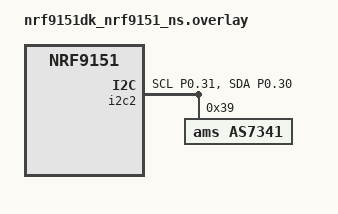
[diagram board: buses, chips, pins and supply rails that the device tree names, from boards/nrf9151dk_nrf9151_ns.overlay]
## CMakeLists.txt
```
# Copyright (c) 2026 Dotcom IoT LLP
# SPDX-License-Identifier: Apache-2.0

cmake_minimum_required(VERSION 3.28.0)
find_package(Zephyr REQUIRED HINTS $ENV{ZEPHYR_BASE})
project(ams_as7341_test)

file(GLOB app_sources src/*.c)
target_sources(app PRIVATE ${app_sources})

zephyr_include_directories(${ZEPHYR_BASE}/drivers/sensor/ams/ams_as7341)
zephyr_include_directories(./src)
```

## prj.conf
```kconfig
CONFIG_SENSOR=y
CONFIG_I2C=y
CONFIG_ZTEST=y
CONFIG_EMUL=y
CONFIG_I2C_EMUL=y
```

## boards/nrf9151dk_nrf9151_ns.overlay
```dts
// Copyright (c) 2026 Dotcom IoT LLP
// SPDX-License-Identifier: Apache-2.0

&i2c2 {
	status = "okay";
	pinctrl-0 = <&i2c2_default>;
	pinctrl-1 = <&i2c2_sleep>;
	pinctrl-names = "default", "sleep";

	as7341: as7341@39 {
		compatible = "ams,as7341";
		reg = <0x39>;
		status = "okay";
	};
};

&pinctrl {
	/omit-if-no-ref/ i2c2_default: i2c2_default {
		group1 {
			psels = <NRF_PSEL(TWIM_SCL, 0, 31)>,
				<NRF_PSEL(TWIM_SDA, 0, 30)>;
			bias-pull-up;
		};
	};

	/omit-if-no-ref/ i2c2_sleep: i2c2_sleep {
		group1 {
			psels = <NRF_PSEL(TWIM_SCL, 0, 31)>,
				<NRF_PSEL(TWIM_SDA, 0, 30)>;
			low-power-enable;
		};
	};
};
```

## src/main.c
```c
/*
 * Copyright (c) 2026 Dotcom IoT LLP
 * SPDX-License-Identifier: Apache-2.0
 */

#include <zephyr/ztest.h>
#include <zephyr/drivers/sensor.h>
#include <stdlib.h>
#include <string.h>

#include "ams_as7341.h"

/*
 * Fixture struct MUST be named <suite_name>_fixture.
 * Suite name is "as7341_tests", so struct must be "as7341_tests_fixture".
 */
struct as7341_tests_fixture {
	const struct device *dev;
};

static void *as7341_setup(void)
{
	struct as7341_tests_fixture *fixture = malloc(sizeof(struct as7341_tests_fixture));

	zassume_not_null(fixture, NULL);

	fixture->dev = DEVICE_DT_GET_ANY(ams_as7341);
	zassume_not_null(fixture->dev, "AS7341 device not found in DT");
	zassume_true(device_is_ready(fixture->dev), "AS7341 device is not ready");

	return fixture;
}

static void as7341_before(void *f)
{
	ARG_UNUSED(f);
}

static void as7341_teardown(void *f)
{
	free(f);
}

ZTEST_SUITE(as7341_tests, NULL, as7341_setup, as7341_before, NULL, as7341_teardown);

/**
 * @brief Test that the AS7341 device is ready after initialisation.
 */
ZTEST_F(as7341_tests, test_device_ready)
{
	zassert_true(device_is_ready(fixture->dev), "AS7341 device should be ready");
}

/**
 * @brief Test that sample_fetch succeeds for SENSOR_CHAN_ALL.
 */
ZTEST_F(as7341_tests, test_sample_fetch_all)
{
	int ret = sensor_sample_fetch(fixture->dev);

	zassert_equal(ret, 0, "sensor_sample_fetch failed: %d", ret);
}

/**
 * @brief Test that all spectral channels return valid (non-negative) values.
 */
ZTEST_F(as7341_tests, test_channel_get_spectral)
{
	struct sensor_value val;
	int ret;

	ret = sensor_sample_fetch(fixture->dev);
	zassert_equal(ret, 0, "sensor_sample_fetch failed: %d", ret);

	/* F1 - 415 nm */
	ret = sensor_channel_get(fixture->dev, (enum sensor_channel)SENSOR_CHAN_AS7341_415NM_F1,
				 &val);
	zassert_equal(ret, 0, "channel_get F1 failed: %d", ret);
	zassert_true(val.val1 >= 0, "F1 value should be non-negative");

	/* F2 - 445 nm */
	ret = sensor_channel_get(fixture->dev, (enum sensor_channel)SENSOR_CHAN_AS7341_445NM_F2,
				 &val);
	zassert_equal(ret, 0, "channel_get F2 failed: %d", ret);
	zassert_true(val.val1 >= 0, "F2 value should be non-negative");

	/* F3 - 480 nm */
	ret = sensor_channel_get(fixture->dev, (enum sensor_channel)SENSOR_CHAN_AS7341_480NM_F3,
				 &val);
	zassert_equal(ret, 0, "channel_get F3 failed: %d", ret);
	zassert_true(val.val1 >= 0, "F3 value should be non-negative");

	/* F4 - 515 nm */
	ret = sensor_channel_get(fixture->dev, (enum sensor_channel)SENSOR_CHAN_AS7341_515NM_F4,
				 &val);
	zassert_equal(ret, 0, "channel_get F4 failed: %d", ret);
	zassert_true(val.val1 >= 0, "F4 value should be non-negative");

	/* Clear (pass 1) */
	ret = sensor_channel_get(fixture->dev, (enum sensor_channel)SENSOR_CHAN_AS7341_CLEAR_0,
				 &val);
	zassert_equal(ret, 0, "channel_get CLEAR_0 failed: %d", ret);
	zassert_true(val.val1 >= 0, "CLEAR_0 value should be non-negative");

	/* NIR (pass 1) */
	ret = sensor_channel_get(fixture->dev, (enum sensor_channel)SENSOR_CHAN_AS7341_NIR_0, &val);
	zassert_equal(ret, 0, "channel_get NIR_0 failed: %d", ret);
	zassert_true(val.val1 >= 0, "NIR_0 value should be non-negative");

	/* F5 - 555 nm */
	ret = sensor_channel_get(fixture->dev, (enum sensor_channel)SENSOR_CHAN_AS7341_555NM_F5,
				 &val);
	zassert_equal(ret, 0, "channel_get F5 failed: %d", ret);
	zassert_true(val.val1 >= 0, "F5 value should be non-negative");

	/* F6 - 590 nm */
	ret = sensor_channel_get(fixture->dev, (enum sensor_channel)SENSOR_CHAN_AS7341_590NM_F6,
				 &val);
	zassert_equal(ret, 0, "channel_get F6 failed: %d", ret);
	zassert_true(val.val1 >= 0, "F6 value should be non-negative");

	/* F7 - 630 nm */
	ret = sensor_channel_get(fixture->dev, (enum sensor_channel)SENSOR_CHAN_AS7341_630NM_F7,
				 &val);
	zassert_equal(ret, 0, "channel_get F7 failed: %d", ret);
	zassert_true(val.val1 >= 0, "F7 value should be non-negative");

	/* F8 - 680 nm */
	ret = sensor_channel_get(fixture->dev, (enum sensor_channel)SENSOR_CHAN_AS7341_680NM_F8,
				 &val);
	zassert_equal(ret, 0, "channel_get F8 failed: %d", ret);
	zassert_true(val.val1 >= 0, "F8 value should be non-negative");

	/* Clear (pass 2) */
	ret = sensor_channel_get(fixture->dev, (enum sensor_channel)SENSOR_CHAN_AS7341_CLEAR, &val);
	zassert_equal(ret, 0, "channel_get CLEAR failed: %d", ret);
	zassert_true(val.val1 >= 0, "CLEAR value should be non-negative");

	/* NIR (pass 2) */
	ret = sensor_channel_get(fixture->dev, (enum sensor_channel)SENSOR_CHAN_AS7341_NIR, &val);
	zassert_equal(ret, 0, "channel_get NIR failed: %d", ret);
	zassert_true(val.val1 >= 0, "NIR value should be non-negative");
}

/**
 * @brief Test attr_set and attr_get round-trip for GAIN.
 */
ZTEST_F(as7341_tests, test_attr_gain)
{
	struct sensor_value set_val = {.val1 = AS7341_GAIN_64X, .val2 = 0};
	struct sensor_value get_val;
	int ret;

	ret = sensor_attr_set(fixture->dev, SENSOR_CHAN_ALL, SENSOR_ATTR_GAIN, &set_val);
	zassert_equal(ret, 0, "attr_set GAIN failed: %d", ret);

	ret = sensor_attr_get(fixture->dev, SENSOR_CHAN_ALL, SENSOR_ATTR_GAIN, &get_val);
	zassert_equal(ret, 0, "attr_get GAIN failed: %d", ret);
	zassert_equal(get_val.val1, AS7341_GAIN_64X, "GAIN round-trip mismatch");
}

/**
 * @brief Test attr_set and attr_get round-trip for ATIME.
 */
ZTEST_F(as7341_tests, test_attr_atime)
{
	struct sensor_value set_val = {.val1 = 50, .val2 = 0};
	struct sensor_value get_val;
	int ret;

	ret = sensor_attr_set(fixture->dev, SENSOR_CHAN_ALL, SENSOR_ATTR_SAMPLING_FREQUENCY,
			      &set_val);
	zassert_equal(ret, 0, "attr_set ATIME failed: %d", ret);

	ret = sensor_attr_get(fixture->dev, SENSOR_CHAN_ALL, SENSOR_ATTR_SAMPLING_FREQUENCY,
			      &get_val);
	zassert_equal(ret, 0, "attr_get ATIME failed: %d", ret);
	zassert_equal(get_val.val1, 50, "ATIME round-trip mismatch");
}

/**
 * @brief Test attr_set and attr_get round-trip for ASTEP.
 */
ZTEST_F(as7341_tests, test_attr_astep)
{
	struct sensor_value set_val = {.val1 = 499, .val2 = 0};
	struct sensor_value get_val;
	int ret;

	ret = sensor_attr_set(fixture->dev, SENSOR_CHAN_ALL, SENSOR_ATTR_RESOLUTION, &set_val);
	zassert_equal(ret, 0, "attr_set ASTEP failed: %d", ret);

	ret = sensor_attr_get(fixture->dev, SENSOR_CHAN_ALL, SENSOR_ATTR_RESOLUTION, &get_val);
	zassert_equal(ret, 0, "attr_get ASTEP failed: %d", ret);
	zassert_equal(get_val.val1, 499, "ASTEP round-trip mismatch");
}

/**
 * @brief Test that an unsupported attribute returns -ENOTSUP.
 */
ZTEST_F(as7341_tests, test_attr_unsupported)
{
	struct sensor_value val = {.val1 = 0, .val2 = 0};
	int ret;

	ret = sensor_attr_set(fixture->dev, SENSOR_CHAN_ALL, SENSOR_ATTR_ALERT, &val);
	zassert_equal(ret, -ENOTSUP, "Expected -ENOTSUP for unsupported attr, got %d", ret);
}

/**
 * @brief Test that fetching an unsupported channel returns -ENOTSUP.
 */
ZTEST_F(as7341_tests, test_sample_fetch_unsupported_chan)
{
	int ret = sensor_sample_fetch_chan(fixture->dev, SENSOR_CHAN_AMBIENT_TEMP);

	zassert_equal(ret, -ENOTSUP, "Expected -ENOTSUP for unsupported channel, got %d", ret);
}

/**
 * @brief Test flicker detection fetch and channel_get.
 */
ZTEST_F(as7341_tests, test_flicker_detection)
{
	struct sensor_value val;
	int ret;

	ret = sensor_sample_fetch_chan(fixture->dev,
				       (enum sensor_channel)SENSOR_CHAN_AS7341_FLICKER);
	zassert_equal(ret, 0, "flicker fetch failed: %d", ret);

	ret = sensor_channel_get(fixture->dev, (enum sensor_channel)SENSOR_CHAN_AS7341_FLICKER,
				 &val);
	zassert_equal(ret, 0, "flicker channel_get failed: %d", ret);

	/* Valid results: 0 (none), 1 (unknown), 100 Hz, 120 Hz */
	zassert_true(val.val1 == 0 || val.val1 == 1 || val.val1 == 100 || val.val1 == 120,
		     "Unexpected flicker value: %d", val.val1);
}
```
